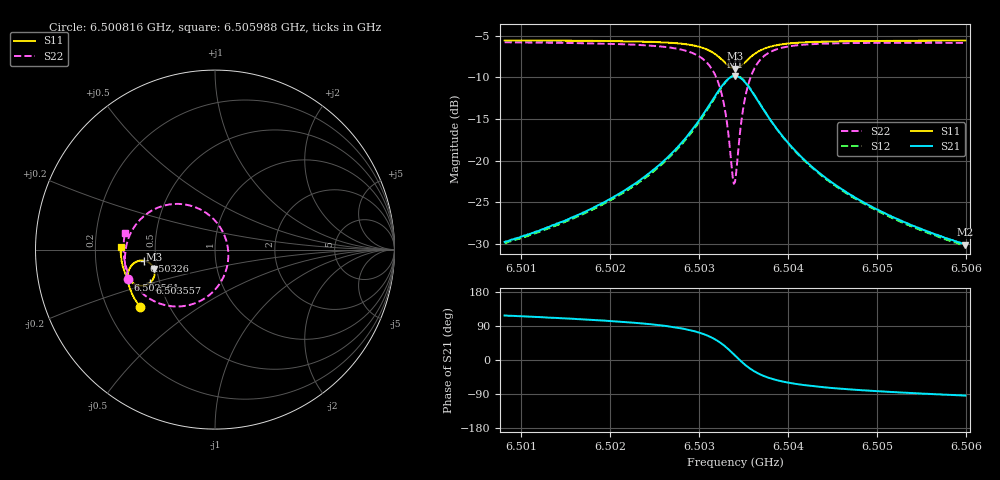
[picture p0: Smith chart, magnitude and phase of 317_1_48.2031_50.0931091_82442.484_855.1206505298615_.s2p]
#  HZ  S  RI  R  50.00
! Rohde & Schwarz Vector Network Analyzer
! Rohde-Schwarz,ZNB20-2Port,1311601062101988,3.16
! Created: UTC 3/20/2024, 11:50:13 AM
! freq[Hz]  re:S11  im:S11  re:S21  im:S21  re:S12  im:S12  re:S22  im:S22
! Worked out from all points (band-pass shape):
!   401 points, 6.500816 GHz to 6.505988 GHz, reference 50 ohm
!   highest |S21| = -9.83 dB at 6.503402 GHz (marker M1); lowest = -30.0 dB at 6.505988 GHz (marker M2)
!   |S21| within 3 dB of the highest: 6.503143 GHz to 6.50366 GHz (516.9 kHz wide, 0.00795 % of centre)
!   lowest |S11| = -8.9 dB at 6.503402 GHz (marker M3), VSWR 2.11, Z = 24.1 - j6.1 ohm
!   |S11| at or under -10 dB: nowhere
!   |S22| runs from -22.8 to -5.8 dB; largest |S21 - S12| = 0.011
!   S11 on the Smith chart (normalised r, x): 6.500816 GHz: 0.34, -0.30; 6.502561 GHz: 0.33, -0.15; 6.50326 GHz: 0.43, -0.06; 6.503557 GHz: 0.44, -0.20; 6.505988 GHz: 0.31, +0.01
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6.5008158e9  -0.4201 -0.3176  -0.015 0.029  -0.0134 0.0292  -0.4859 -0.1663
6.5016821e9  -0.4581 -0.2547  -0.0145 0.0462  -0.0122 0.0459  -0.5013 -0.0762
6.5021605e9  -0.4756 -0.213  -0.0118 0.0653  -0.00888 0.0642  -0.4995 -0.0103
6.5025484e9  -0.4852 -0.1712  -0.00307 0.0939  0.000317 0.0919  -0.4814 0.0648
6.5025613e9  -0.4855 -0.1695  -0.00267 0.0954  0.000892 0.0932  -0.4803 0.0678
6.502807e9  -0.485 -0.1344  0.0154 0.1283  0.0191 0.1246  -0.4424 0.1371
6.502988e9  -0.4738 -0.1011  0.0496 0.164  0.0529 0.1589  -0.3748 0.2031
6.5031561e9  -0.4395 -0.0681  0.1263 0.1972  0.1277 0.1909  -0.2339 0.2537
6.5032595e9  -0.3973 -0.0613  0.2107 0.1885  0.2113 0.1832  -0.0869 0.2263
6.5033112e9  -0.372 -0.0697  0.2588 0.1609  0.2596 0.1561  -0.00748 0.1694
6.5033759e9  -0.3458 -0.0958  0.3057 0.0981  0.3081 0.093  0.0633 0.0487
6.5034017e9  -0.3396 -0.1102  0.3157 0.0663  0.3188 0.0604  0.0738 -0.0103
6.5034147e9  -0.3377 -0.1177  0.3183 0.0499  0.3215 0.0434  0.0743 -0.0404
6.5034923e9  -0.3437 -0.1618  0.3014 -0.0434  0.3033 -0.0531  0.017 -0.2031
6.5035569e9  -0.3646 -0.1871  0.2593 -0.0963  0.2581 -0.1072  -0.0777 -0.2838
6.5036603e9  -0.4035 -0.2017  0.1862 -0.1317  0.1808 -0.1409  -0.2247 -0.3168
6.5038284e9  -0.4489 -0.1918  0.1062 -0.1289  0.0994 -0.1336  -0.3686 -0.2709
6.5040094e9  -0.4758 -0.1704  0.0628 -0.1092  0.0566 -0.1116  -0.4393 -0.2069
6.504268e9  -0.4963 -0.1403  0.0334 -0.0855  0.0286 -0.0861  -0.4817 -0.1357
6.5046689e9  -0.5122 -0.0992  0.0142 -0.0624  0.011 -0.0619  -0.5043 -0.0595
6.5051343e9  -0.5211 -0.0567  0.00485 -0.0467  0.00272 -0.0461  -0.5097 0.00423
6.5059877e9  -0.5258 0.015  -0.00217 -0.0314  -0.00329 -0.0306  -0.5013 0.0927
